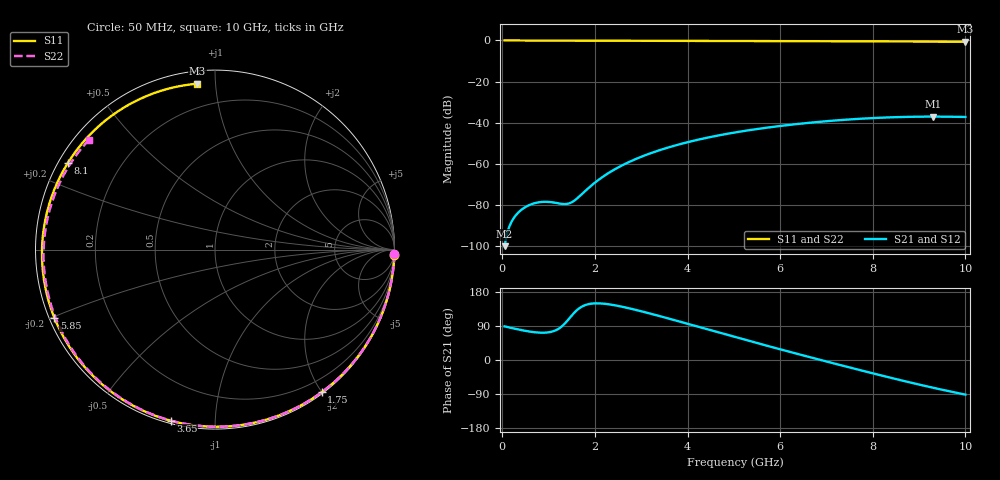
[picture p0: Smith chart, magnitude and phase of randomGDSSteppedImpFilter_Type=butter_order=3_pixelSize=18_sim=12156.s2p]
! freq	dB(S11)	phase(S11)	dB(S12)	phase(S12)
!  dB(S21)	phase(S21)	dB(S22)	phase(S22)
!S-par simulation data
#  GHz  S  DB  R 50
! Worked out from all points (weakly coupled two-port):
!   200 points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, 50 MHz to 10 GHz, reference 50 ohm
!   highest |S21| = -36.97 dB at 9.3 GHz (marker M1); lowest = -99.9 dB at 50 MHz (marker M2)
!   lowest |S11| = -0.6 dB at 10 GHz (marker M3), VSWR 27.29, Z = 3.31 + j44.8 ohm
!   |S11| at or under -10 dB: nowhere
!   |S22| runs from -0.6 to 0.0 dB; largest |S21 - S12| = 0
!   S11 on the Smith chart (normalised r, x): 50 MHz: 0, -73; 1.75 GHz: 0.02, -2.00; 3.65 GHz: 0.01, -0.77; 5.85 GHz: 0.01, -0.20; 8.1 GHz: 0.03, +0.27; 10 GHz: 0.07, +0.90
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0.05  -0.00 -1.6  -99.88 88.7  -99.88 88.7  -0.00 -1.3
0.55  -0.02 -17.1  -80.27 75.8  -80.27 75.8  -0.02 -14.4
0.75  -0.03 -23.3  -78.73 72.6  -78.73 72.6  -0.03 -19.6
0.9  -0.04 -27.9  -78.34 72.0  -78.34 72.0  -0.03 -23.5
1.4  -0.05 -42.9  -79.35 102.9  -79.35 102.9  -0.05 -36.3
1.55  -0.06 -47.4  -77.85 124.3  -77.85 124.3  -0.05 -40.1
1.75  -0.07 -53.2  -73.95 142.8  -73.95 142.8  -0.06 -45.1
2.1  -0.08 -63.2  -67.32 149.4  -67.32 149.4  -0.07 -53.7
2.45  -0.09 -73.0  -62.29 143.9  -62.29 143.9  -0.08 -62.1
2.9  -0.11 -85.2  -57.40 131.7  -57.40 131.7  -0.09 -72.7
3.4  -0.12 -98.2  -53.25 115.8  -53.25 115.8  -0.11 -84.1
3.65  -0.13 -104.6  -51.52 107.5  -51.52 107.5  -0.12 -89.6
4.3  -0.16 -120.6  -47.82 85.4  -47.82 85.4  -0.14 -103.7
5.05  -0.20 -138.4  -44.57 59.9  -44.57 59.9  -0.18 -119.3
5.85  -0.25 -156.9  -41.94 33.2  -41.94 33.2  -0.22 -135.4
6.7  -0.31 -176.6  -39.82 5.6  -39.82 5.6  -0.28 -152.2
7.4  -0.37 166.8  -38.50 -16.6  -38.50 -16.6  -0.34 -166.0
8.1  -0.43 149.4  -37.57 -38.3  -37.57 -38.3  -0.40 179.9
8.35  -0.46 143.0  -37.35 -45.8  -37.35 -45.8  -0.43 174.8
8.8  -0.50 131.0  -37.07 -59.1  -37.07 -59.1  -0.48 165.5
9.3  -0.56 117.0  -36.97 -73.2  -36.97 -73.2  -0.53 154.7
10  -0.64 96.1  -37.14 -91.3  -37.14 -91.3  -0.62 138.9
